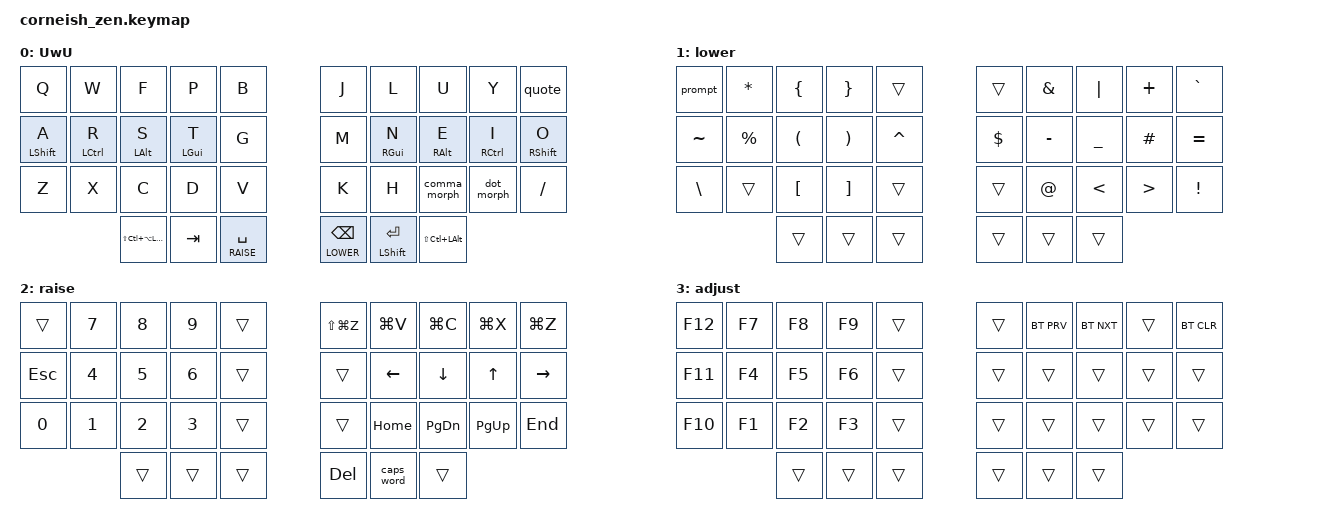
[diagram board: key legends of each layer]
#include <behaviors.dtsi>
#include <dt-bindings/zmk/keys.h>
#include <dt-bindings/zmk/bt.h>
#include "../zmk-nodefree-config/helper.h"
#include "../zmk-nodefree-config/keypos_def/keypos_36keys.h"


#define DEF 0
#define LOWER 1
#define RAISE 2

#define KEYS_L LT0 LT1 LT2 LT3 LT4 LM0 LM1 LM2 LM3 LM4 LB0 LB1 LB2 LB3 LB4  // left hand
#define KEYS_R RT0 RT1 RT2 RT3 RT4 RM0 RM1 RM2 RM3 RM4 RB0 RB1 RB2 RB3 RB4  // right hand
#define THUMBS LH2 LH1 LH0 RH0 RH1 RH2                                      // thumbs

#define HYPER LS(LC(LA(LGUI)))
#define MEH LS(LC(LALT))

#define U_RDO LS(LG(Z))
#define U_PST LG(V)
#define U_CPY LG(C)
#define U_CUT LG(X)
#define U_UND LG(Z)

#define TAPPING_TERM_MS 280
#define QUICK_TAP_MS 175
#define REQUIRE_PRIOR_IDLE_MS 150


&caps_word {
    continue-list = <UNDERSCORE MINUS>;
};

&lt {  // layer-tap config
    flavor = "balanced";
    tapping-term-ms = <200>;
    quick-tap-ms = <QUICK_TAP_MS>;
};


/ {
  chosen {
    zmk,matrix_transform = &five_column_transform;
  };
};


/ {
    combos {
        compatible = "zmk,combos";
        combo_esc {
            timeout-ms = <20>;
            key-positions = <12 13>;
            bindings = <&kp ESC>;
        };
        combo_dash {
            timeout-ms = <20>;
            key-positions = <16 17>;
            bindings = <&kp MINUS>;
        };
        combo_underscore {
            timeout-ms = <20>;
            key-positions = <17 18>;
            bindings = <&kp UNDERSCORE>;
        };
        combo_colon {
            timeout-ms = <20>;
            key-positions = <16 18>;
            bindings = <&kp COLON>;
        };
    };
};

/ {
    conditional_layers {
        compatible = "zmk,conditional-layers";
        tri_layer {
            if-layers = <1 2>;
            then-layer = <3>;
        };
    };
};


/ {
    macros {
      pastey: pastey {
        compatible = "zmk,behavior-macro";
        label = "PASTEY";
        #binding-cells = <0>;
        bindings
          = <&macro_tap &kp K_PASTE>
          , <&macro_tap &kp RET>
          ;
      };

      ra: right_arrow {
        compatible = "zmk,behavior-macro";
        label = "RIGHT_ARROW";
        #binding-cells = <0>;
        bindings
          = <&macro_tap &kp MINUS>
          , <&macro_tap &kp GT>
          , <&macro_tap &kp SPACE>
          ;
      };
      prompt: prompt {
        compatible = "zmk,behavior-macro";
        label = "PROMPT";
        #binding-cells = <0>;
        wait-ms = <40>;
        tap-ms = <40>;
        bindings
          = <&macro_tap &kp GRAVE &kp GRAVE &kp GRAVE>
          , <&macro_press &kp LSHIFT>
          , <&macro_tap &kp RET &kp RET>
          , <&macro_release &kp LSHIFT>
          , <&macro_tap &kp GRAVE &kp GRAVE &kp GRAVE>
          , <&macro_tap &kp UP>
          ;
      };
    };

    behaviors {
      lh_pht: left_hand_positional_hold_tap {
        compatible = "zmk,behavior-hold-tap";
        label = "LEFT_POSITIONAL_TAP";
        #binding-cells = <2>;
        tapping-term-ms = <TAPPING_TERM_MS>;
        quick-tap-ms = <QUICK_TAP_MS>;
        flavor = "balanced";
        require-prior-idle-ms = <REQUIRE_PRIOR_IDLE_MS>;
        bindings = <&kp>, <&kp>;
        hold-trigger-key-positions = <KEYS_R THUMBS>;
        hold-trigger-on-release;
      };
      rh_pht: right_hand_positional_hold_tap {
        compatible = "zmk,behavior-hold-tap";
        label = "RIGHT_POSITIONAL_TAP";
        #binding-cells = <2>;
        tapping-term-ms = <TAPPING_TERM_MS>;
        quick-tap-ms = <QUICK_TAP_MS>;
        flavor = "balanced";
        require-prior-idle-ms = <REQUIRE_PRIOR_IDLE_MS>;
        bindings = <&kp>, <&kp>;
        hold-trigger-key-positions = <KEYS_L THUMBS>;
        hold-trigger-on-release;
      };

      tdv: tap_dance_v {
        compatible = "zmk,behavior-tap-dance";
        label = "TAP_DANCE_V";
        #binding-cells = <0>;
        tapping-term-ms = <200>;
        bindings = <&kp V>, <&pastey>;
      };

      quote: mod_morph_quote {
        compatible = "zmk,behavior-mod-morph";
        label = "MOD_MORPH_QUOTE";
        #binding-cells = <0>;
        bindings = <&kp SQT>, <&kp GRAVE>;
        mods = <(MOD_LCTL)>;
      };

      qmark: mod_morph_qmark {
        compatible = "zmk,behavior-mod-morph";
        label = "MOD_MORPH_QMARK";
        #binding-cells = <0>;
        bindings = <&kp QMARK>, <&kp EXCL>;
        mods = <(MOD_LSFT)>;
      };

      comma_morph: mod_morph_comma {
        compatible = "zmk,behavior-mod-morph";
        label = "MOD_MORPH_COMMA";
        #binding-cells = <0>;
        bindings = <&kp COMMA>, <&kp SEMI>;
        mods = <(MOD_LSFT)>;
      };
      dot_morph: mod_morph_dot {
        compatible = "zmk,behavior-mod-morph";
        label = "MOD_MORPH_DOT";
        #binding-cells = <0>;
        bindings = <&kp DOT>, <&kp COLON>;
        mods = <(MOD_LSFT)>;
      };
    };
    keymap {
      compatible = "zmk,keymap";
      default_layer {
        label = "UwU";
        bindings = <
          &kp Q           &kp W           &kp F           &kp P           &kp B     &kp J &kp L           &kp U           &kp Y           &quote
          &lh_pht LSHFT A &lh_pht LCTRL R &lh_pht LALT S  &lh_pht LGUI T  &kp G     &kp M &rh_pht RGUI N  &rh_pht RALT E  &rh_pht RCTRL I &rh_pht RSHFT O
          &kp Z           &kp X           &kp C           &kp D           &kp V      &kp K &kp H           &comma_morph    &dot_morph      &kp SLASH
                          &kp HYPER &kp TAB &lt RAISE SPACE                         &lt LOWER BKSP &mt LSHIFT RET &kp MEH
        >;
      };

      lower_layer {
        label = "lower";
        bindings = <
          &prompt     &kp STAR     &kp LBRC  &kp RBRC &trans           &trans      &kp AMPS  &kp PIPE        &kp PLUS          &kp GRAVE
          &kp TILDE   &kp PERCENT  &kp LPAR  &kp RPAR &kp CARET        &kp DOLLAR  &kp MINUS &kp UNDER       &kp HASH          &kp EQUAL 
          &kp BSLH    &trans       &kp LBKT  &kp RBKT &trans           &trans      &kp AT    &kp LESS_THAN   &kp GREATER_THAN  &kp EXCL
                    &trans      &trans    &trans                                &trans    &trans    &trans 
        >;
      };

      raise_layer {
        label = "raise";
        bindings = <
          &trans   &kp N7  &kp N8  &kp N9  &trans                &kp U_RDO  &kp U_PST   &kp U_CPY    &kp U_CUT  &kp U_UND
          &kp ESC  &kp N4  &kp N5  &kp N6  &trans                &trans     &kp LEFT    &kp DOWN     &kp UP     &kp RIGHT
          &kp N0   &kp N1  &kp N2  &kp N3  &trans                &trans     &kp HOME    &kp PG_DN    &kp PG_UP  &kp END 
                    &trans  &trans  &trans                                  &kp DEL      &caps_word      &trans 
        >;
      };

      adjust_layer {
        label = "adjust";
        bindings = <
          &kp F12  &kp F7 &kp F8 &kp F9 &trans                &trans  &bt BT_PRV  &bt BT_NXT  &trans &bt BT_CLR 
          &kp F11  &kp F4 &kp F5 &kp F6 &trans               &trans &trans &trans &trans &trans 
          &kp F10  &kp F1 &kp F2 &kp F3 &trans               &trans &trans &trans &trans &trans 
                    &trans  &trans  &trans                                  &trans      &trans      &trans 
        >;
      };
  };
};
